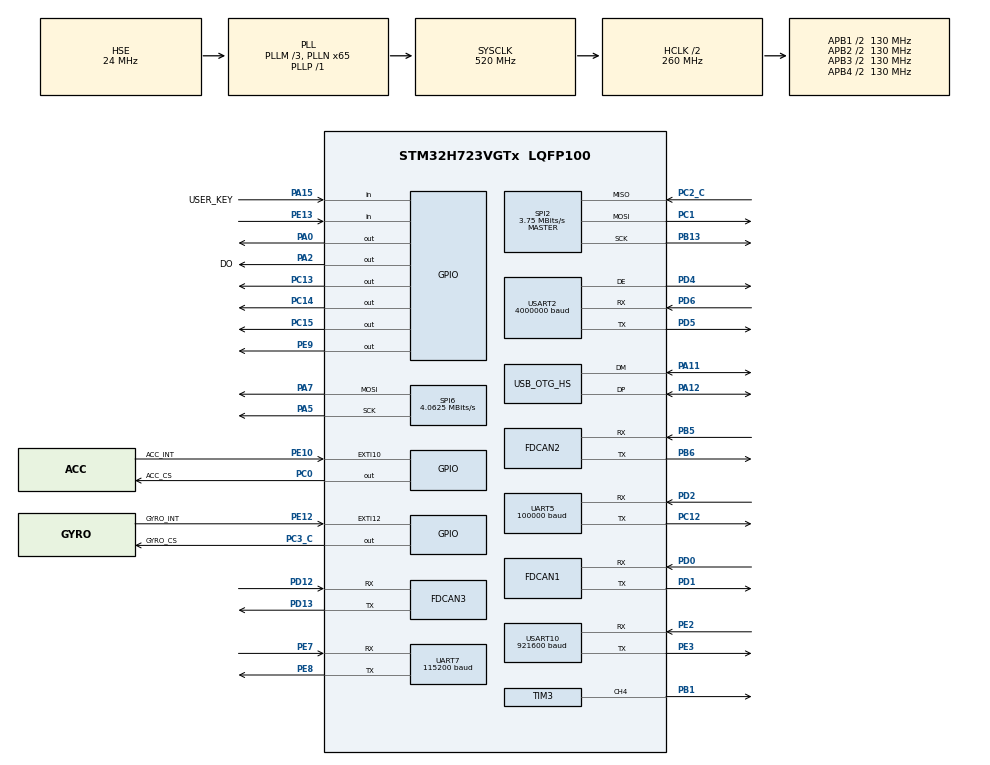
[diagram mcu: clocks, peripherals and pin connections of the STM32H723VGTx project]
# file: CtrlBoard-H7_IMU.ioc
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Dma.Request0=SPI2_RX
Dma.Request1=SPI2_TX
Dma.Request2=UART5_RX
Dma.Request3=USART2_RX
Dma.Request4=USART2_TX
Dma.Request5=USART10_RX
Dma.Request6=USART10_TX
Dma.Request7=UART5_TX
Dma.SPI2_RX.0.Direction=DMA_PERIPH_TO_MEMORY
Dma.SPI2_RX.0.EventEnable=DISABLE
Dma.SPI2_RX.0.FIFOMode=DMA_FIFOMODE_DISABLE
Dma.SPI2_RX.0.Instance=DMA1_Stream0
Dma.SPI2_RX.0.MemDataAlignment=DMA_MDATAALIGN_BYTE
Dma.SPI2_RX.0.MemInc=DMA_MINC_ENABLE
Dma.SPI2_RX.0.Mode=DMA_NORMAL
Dma.SPI2_RX.0.PeriphDataAlignment=DMA_PDATAALIGN_BYTE
Dma.SPI2_RX.0.PeriphInc=DMA_PINC_DISABLE
Dma.SPI2_RX.0.Polarity=HAL_DMAMUX_REQ_GEN_RISING
Dma.SPI2_RX.0.Priority=DMA_PRIORITY_VERY_HIGH
Dma.SPI2_RX.0.RequestNumber=1
Dma.SPI2_RX.0.SignalID=NONE
Dma.SPI2_RX.0.SyncEnable=DISABLE
Dma.SPI2_RX.0.SyncPolarity=HAL_DMAMUX_SYNC_NO_EVENT
Dma.SPI2_RX.0.SyncRequestNumber=1
Dma.SPI2_RX.0.SyncSignalID=NONE
Dma.SPI2_TX.1.Direction=DMA_MEMORY_TO_PERIPH
Dma.SPI2_TX.1.EventEnable=DISABLE
Dma.SPI2_TX.1.FIFOMode=DMA_FIFOMODE_DISABLE
Dma.SPI2_TX.1.Instance=DMA1_Stream1
Dma.SPI2_TX.1.MemDataAlignment=DMA_MDATAALIGN_BYTE
Dma.SPI2_TX.1.MemInc=DMA_MINC_ENABLE
Dma.SPI2_TX.1.Mode=DMA_NORMAL
Dma.SPI2_TX.1.PeriphDataAlignment=DMA_PDATAALIGN_BYTE
Dma.SPI2_TX.1.PeriphInc=DMA_PINC_DISABLE
Dma.SPI2_TX.1.Polarity=HAL_DMAMUX_REQ_GEN_RISING
Dma.SPI2_TX.1.Priority=DMA_PRIORITY_HIGH
Dma.SPI2_TX.1.RequestNumber=1
Dma.SPI2_TX.1.SignalID=NONE
Dma.SPI2_TX.1.SyncEnable=DISABLE
Dma.SPI2_TX.1.SyncPolarity=HAL_DMAMUX_SYNC_NO_EVENT
Dma.SPI2_TX.1.SyncRequestNumber=1
Dma.SPI2_TX.1.SyncSignalID=NONE
Dma.UART5_RX.2.Direction=DMA_PERIPH_TO_MEMORY
Dma.UART5_RX.2.EventEnable=DISABLE
Dma.UART5_RX.2.FIFOMode=DMA_FIFOMODE_DISABLE
Dma.UART5_RX.2.Instance=DMA1_Stream2
Dma.UART5_RX.2.MemDataAlignment=DMA_MDATAALIGN_BYTE
Dma.UART5_RX.2.MemInc=DMA_MINC_ENABLE
Dma.UART5_RX.2.Mode=DMA_CIRCULAR
Dma.UART5_RX.2.PeriphDataAlignment=DMA_PDATAALIGN_BYTE
Dma.UART5_RX.2.PeriphInc=DMA_PINC_DISABLE
Dma.UART5_RX.2.Polarity=HAL_DMAMUX_REQ_GEN_RISING
Dma.UART5_RX.2.Priority=DMA_PRIORITY_VERY_HIGH
Dma.UART5_RX.2.RequestNumber=1
Dma.UART5_RX.2.SignalID=NONE
Dma.UART5_RX.2.SyncEnable=DISABLE
Dma.UART5_RX.2.SyncPolarity=HAL_DMAMUX_SYNC_NO_EVENT
Dma.UART5_RX.2.SyncRequestNumber=1
Dma.UART5_RX.2.SyncSignalID=NONE
Dma.UART5_TX.7.Direction=DMA_MEMORY_TO_PERIPH
Dma.UART5_TX.7.EventEnable=DISABLE
Dma.UART5_TX.7.FIFOMode=DMA_FIFOMODE_DISABLE
Dma.UART5_TX.7.Instance=DMA1_Stream7
Dma.UART5_TX.7.MemDataAlignment=DMA_MDATAALIGN_BYTE
Dma.UART5_TX.7.MemInc=DMA_MINC_ENABLE
Dma.UART5_TX.7.Mode=DMA_NORMAL
Dma.UART5_TX.7.PeriphDataAlignment=DMA_PDATAALIGN_BYTE
Dma.UART5_TX.7.PeriphInc=DMA_PINC_DISABLE
Dma.UART5_TX.7.Polarity=HAL_DMAMUX_REQ_GEN_RISING
Dma.UART5_TX.7.Priority=DMA_PRIORITY_VERY_HIGH
Dma.UART5_TX.7.RequestNumber=1
Dma.UART5_TX.7.SignalID=NONE
Dma.UART5_TX.7.SyncEnable=DISABLE
Dma.UART5_TX.7.SyncPolarity=HAL_DMAMUX_SYNC_NO_EVENT
Dma.UART5_TX.7.SyncRequestNumber=1
Dma.UART5_TX.7.SyncSignalID=NONE
Dma.USART10_RX.5.Direction=DMA_PERIPH_TO_MEMORY
Dma.USART10_RX.5.EventEnable=DISABLE
Dma.USART10_RX.5.FIFOMode=DMA_FIFOMODE_DISABLE
Dma.USART10_RX.5.Instance=DMA1_Stream5
Dma.USART10_RX.5.MemDataAlignment=DMA_MDATAALIGN_BYTE
Dma.USART10_RX.5.MemInc=DMA_MINC_ENABLE
Dma.USART10_RX.5.Mode=DMA_CIRCULAR
Dma.USART10_RX.5.PeriphDataAlignment=DMA_PDATAALIGN_BYTE
Dma.USART10_RX.5.PeriphInc=DMA_PINC_DISABLE
Dma.USART10_RX.5.Polarity=HAL_DMAMUX_REQ_GEN_RISING
Dma.USART10_RX.5.Priority=DMA_PRIORITY_HIGH
Dma.USART10_RX.5.RequestNumber=1
Dma.USART10_RX.5.SignalID=NONE
Dma.USART10_RX.5.SyncEnable=DISABLE
Dma.USART10_RX.5.SyncPolarity=HAL_DMAMUX_SYNC_NO_EVENT
Dma.USART10_RX.5.SyncRequestNumber=1
Dma.USART10_RX.5.SyncSignalID=NONE
Dma.USART10_TX.6.Direction=DMA_MEMORY_TO_PERIPH
Dma.USART10_TX.6.EventEnable=DISABLE
Dma.USART10_TX.6.FIFOMode=DMA_FIFOMODE_DISABLE
Dma.USART10_TX.6.Instance=DMA1_Stream6
Dma.USART10_TX.6.MemDataAlignment=DMA_MDATAALIGN_BYTE
Dma.USART10_TX.6.MemInc=DMA_MINC_ENABLE
Dma.USART10_TX.6.Mode=DMA_NORMAL
Dma.USART10_TX.6.PeriphDataAlignment=DMA_PDATAALIGN_BYTE
Dma.USART10_TX.6.PeriphInc=DMA_PINC_DISABLE
Dma.USART10_TX.6.Polarity=HAL_DMAMUX_REQ_GEN_RISING
Dma.USART10_TX.6.Priority=DMA_PRIORITY_HIGH
Dma.USART10_TX.6.RequestNumber=1
Dma.USART10_TX.6.SignalID=NONE
Dma.USART10_TX.6.SyncEnable=DISABLE
Dma.USART10_TX.6.SyncPolarity=HAL_DMAMUX_SYNC_NO_EVENT
Dma.USART10_TX.6.SyncRequestNumber=1
Dma.USART10_TX.6.SyncSignalID=NONE
Dma.USART2_RX.3.Direction=DMA_PERIPH_TO_MEMORY
Dma.USART2_RX.3.EventEnable=DISABLE
Dma.USART2_RX.3.FIFOMode=DMA_FIFOMODE_DISABLE
Dma.USART2_RX.3.Instance=DMA1_Stream3
Dma.USART2_RX.3.MemDataAlignment=DMA_MDATAALIGN_BYTE
Dma.USART2_RX.3.MemInc=DMA_MINC_ENABLE
Dma.USART2_RX.3.Mode=DMA_CIRCULAR
Dma.USART2_RX.3.PeriphDataAlignment=DMA_PDATAALIGN_BYTE
Dma.USART2_RX.3.PeriphInc=DMA_PINC_DISABLE
Dma.USART2_RX.3.Polarity=HAL_DMAMUX_REQ_GEN_RISING
Dma.USART2_RX.3.Priority=DMA_PRIORITY_HIGH
Dma.USART2_RX.3.RequestNumber=1
Dma.USART2_RX.3.SignalID=NONE
Dma.USART2_RX.3.SyncEnable=DISABLE
Dma.USART2_RX.3.SyncPolarity=HAL_DMAMUX_SYNC_NO_EVENT
Dma.USART2_RX.3.SyncRequestNumber=1
Dma.USART2_RX.3.SyncSignalID=NONE
Dma.USART2_TX.4.Direction=DMA_MEMORY_TO_PERIPH
Dma.USART2_TX.4.EventEnable=DISABLE
Dma.USART2_TX.4.FIFOMode=DMA_FIFOMODE_DISABLE
Dma.USART2_TX.4.Instance=DMA1_Stream4
Dma.USART2_TX.4.MemDataAlignment=DMA_MDATAALIGN_BYTE
Dma.USART2_TX.4.MemInc=DMA_MINC_ENABLE
Dma.USART2_TX.4.Mode=DMA_NORMAL
Dma.USART2_TX.4.PeriphDataAlignment=DMA_PDATAALIGN_BYTE
Dma.USART2_TX.4.PeriphInc=DMA_PINC_DISABLE
Dma.USART2_TX.4.Polarity=HAL_DMAMUX_REQ_GEN_RISING
Dma.USART2_TX.4.Priority=DMA_PRIORITY_HIGH
Dma.USART2_TX.4.RequestNumber=1
Dma.USART2_TX.4.SignalID=NONE
Dma.USART2_TX.4.SyncEnable=DISABLE
Dma.USART2_TX.4.SyncPolarity=HAL_DMAMUX_SYNC_NO_EVENT
Dma.USART2_TX.4.SyncRequestNumber=1
Dma.USART2_TX.4.SyncSignalID=NONE
FDCAN1.CalculateBaudRateNominal=1000000
FDCAN1.CalculateTimeBitNominal=1000
FDCAN1.CalculateTimeQuantumNominal=25.0
FDCAN1.DataPrescaler=3
FDCAN1.DataSyncJumpWidth=10
FDCAN1.DataTimeSeg1=29
FDCAN1.DataTimeSeg2=10
FDCAN1.ExtFiltersNbr=5
FDCAN1.MessageRAMOffset=5
FDCAN1.NominalPrescaler=3
FDCAN1.NominalSyncJumpWidth=10
FDCAN1.NominalTimeSeg1=29
FDCAN1.NominalTimeSeg2=10
FDCAN1.ProtocolException=ENABLE
FDCAN1.RxFifo0ElmtSize=FDCAN_DATA_BYTES_8
FDCAN1.RxFifo0ElmtsNbr=8
FDCAN1.RxFifo1ElmtSize=FDCAN_DATA_BYTES_8
FDCAN1.StdFiltersNbr=5
FDCAN1.TxElmtSize=FDCAN_DATA_BYTES_8
FDCAN1.TxFifoQueueElmtsNbr=8
FDCAN2.CalculateBaudRateNominal=1000000
FDCAN2.CalculateTimeBitNominal=1000
FDCAN2.CalculateTimeQuantumNominal=25.0
FDCAN2.DataPrescaler=3
FDCAN2.DataSyncJumpWidth=10
FDCAN2.DataTimeSeg1=29
FDCAN2.DataTimeSeg2=10
FDCAN2.ExtFiltersNbr=5
FDCAN2.MessageRAMOffset=854
FDCAN2.NominalPrescaler=3
FDCAN2.NominalSyncJumpWidth=10
FDCAN2.NominalTimeSeg1=29
FDCAN2.NominalTimeSeg2=10
FDCAN2.ProtocolException=ENABLE
FDCAN2.RxFifo1ElmtSize=FDCAN_DATA_BYTES_8
FDCAN2.RxFifo1ElmtsNbr=8
FDCAN2.StdFiltersNbr=5
FDCAN2.TxElmtSize=FDCAN_DATA_BYTES_8
FDCAN2.TxFifoQueueElmtsNbr=8
FDCAN3.CalculateBaudRateNominal=1000000
FDCAN3.CalculateTimeBitNominal=1000
FDCAN3.CalculateTimeQuantumNominal=25.0
FDCAN3.DataPrescaler=3
FDCAN3.DataSyncJumpWidth=10
FDCAN3.DataTimeSeg1=29
FDCAN3.DataTimeSeg2=5
FDCAN3.ExtFiltersNbr=5
FDCAN3.MessageRAMOffset=1709
FDCAN3.NominalPrescaler=3
FDCAN3.NominalSyncJumpWidth=10
FDCAN3.NominalTimeSeg1=29
FDCAN3.NominalTimeSeg2=10
FDCAN3.ProtocolException=ENABLE
FDCAN3.RxFifo0ElmtSize=FDCAN_DATA_BYTES_8
FDCAN3.RxFifo0ElmtsNbr=4
FDCAN3.StdFiltersNbr=5
FDCAN3.TxElmtSize=FDCAN_DATA_BYTES_8
FDCAN3.TxFifoQueueElmtsNbr=8
FREERTOS.MEMORY_ALLOCATION=0
FREERTOS.Tasks01=serviceTask,8,256,StartServiceTask,Default,NULL,Dynamic,NULL,NULL;inputTask,48,512,StartInputTask,Default,NULL,Dynamic,NULL,NULL
FREERTOS.configENABLE_FPU=1
FREERTOS.configTOTAL_HEAP_SIZE=30720
Mcu.Family=STM32H7
Mcu.Name=STM32H723VGTx
Mcu.Package=LQFP100
NVIC.DMA1_Stream0_IRQn=true\:6\:0\:true\:false\:true\:true\:false\:true\:true
NVIC.DMA1_Stream1_IRQn=true\:6\:0\:true\:false\:true\:true\:false\:true\:true
NVIC.DMA1_Stream2_IRQn=true\:5\:0\:false\:false\:true\:true\:false\:true\:true
NVIC.DMA1_Stream3_IRQn=true\:5\:0\:false\:false\:true\:true\:false\:true\:true
NVIC.DMA1_Stream4_IRQn=true\:5\:0\:false\:false\:true\:true\:false\:true\:true
NVIC.DMA1_Stream5_IRQn=true\:5\:0\:false\:false\:true\:true\:false\:true\:true
NVIC.DMA1_Stream6_IRQn=true\:5\:0\:false\:false\:true\:true\:false\:true\:true
NVIC.DMA1_Stream7_IRQn=true\:5\:0\:false\:false\:true\:true\:false\:true\:true
NVIC.FDCAN1_IT0_IRQn=true\:6\:0\:true\:false\:true\:true\:true\:true\:true
NVIC.FDCAN2_IT0_IRQn=true\:5\:0\:true\:false\:true\:true\:true\:true\:true
NVIC.FDCAN3_IT0_IRQn=true\:5\:0\:false\:false\:true\:true\:true\:true\:true
NVIC.OTG_HS_IRQn=true\:5\:0\:false\:false\:true\:true\:false\:true\:true
NVIC.PriorityGroup=NVIC_PRIORITYGROUP_4
NVIC.SPI2_IRQn=true\:5\:0\:true\:false\:true\:true\:false\:true\:true
NVIC.TIM2_IRQn=true\:15\:0\:false\:false\:true\:false\:false\:true\:true
NVIC.TimeBase=TIM2_IRQn
NVIC.TimeBaseIP=TIM2
NVIC.UART5_IRQn=true\:5\:0\:false\:false\:true\:true\:true\:true\:true
NVIC.UART7_IRQn=true\:5\:0\:false\:false\:true\:true\:true\:true\:true
NVIC.USART10_IRQn=true\:5\:0\:false\:false\:true\:true\:true\:true\:true
NVIC.USART2_IRQn=true\:5\:0\:false\:false\:true\:true\:true\:true\:true
PA0.GPIO_ModeDefaultOutputPP=GPIO_MODE_OUTPUT_PP
PA0.GPIO_PuPd=GPIO_PULLUP
PA0.GPIO_Speed=GPIO_SPEED_FREQ_VERY_HIGH
PA0.Signal=GPIO_Output
PA11.Mode=Device_Only_FS
PA11.Signal=USB_OTG_HS_DM
PA12.Mode=Device_Only_FS
PA12.Signal=USB_OTG_HS_DP
PA13(JTMS/SWDIO).Mode=Serial_Wire
PA13(JTMS/SWDIO).Signal=DEBUG_JTMS-SWDIO
PA14(JTCK/SWCLK).Mode=Serial_Wire
PA14(JTCK/SWCLK).Signal=DEBUG_JTCK-SWCLK
PA15(JTDI).GPIO_Label=USER_KEY
PA15(JTDI).Signal=GPIO_Input
PA2.GPIO_Label=DO
PA2.GPIO_PuPd=GPIO_PULLUP
PA2.GPIO_Speed=GPIO_SPEED_FREQ_VERY_HIGH
PA2.PinState=GPIO_PIN_SET
PA2.Signal=GPIO_Output
PA5.Mode=TX_Only_Simplex_Unidirect_Master
PA5.Signal=SPI6_SCK
PA7.Mode=TX_Only_Simplex_Unidirect_Master
PA7.Signal=SPI6_MOSI
PB1.Signal=S_TIM3_CH4
PB13.GPIO_Speed=GPIO_SPEED_FREQ_VERY_HIGH
PB13.Mode=Full_Duplex_Master
PB13.Signal=SPI2_SCK
PB5.Mode=FDCAN_Activate
PB5.Signal=FDCAN2_RX
PB6.Mode=FDCAN_Activate
PB6.Signal=FDCAN2_TX
PC0.GPIO_Label=ACC_CS
PC0.GPIO_Speed=GPIO_SPEED_FREQ_VERY_HIGH
PC0.PinState=GPIO_PIN_SET
PC0.Signal=GPIO_Output
PC1.GPIO_Speed=GPIO_SPEED_FREQ_VERY_HIGH
PC1.Mode=Full_Duplex_Master
PC1.Signal=SPI2_MOSI
PC12.Mode=Asynchronous
PC12.Signal=UART5_TX
PC13.Signal=GPIO_Output
PC14-OSC32_IN.Signal=GPIO_Output
PC15-OSC32_OUT.PinState=GPIO_PIN_SET
PC15-OSC32_OUT.Signal=GPIO_Output
PC2_C.GPIO_Speed=GPIO_SPEED_FREQ_VERY_HIGH
PC2_C.Mode=Full_Duplex_Master
PC2_C.Signal=SPI2_MISO
PC3_C.GPIO_Label=GYRO_CS
PC3_C.GPIO_Speed=GPIO_SPEED_FREQ_VERY_HIGH
PC3_C.PinState=GPIO_PIN_SET
PC3_C.Signal=GPIO_Output
PD0.Mode=FDCAN_Activate
PD0.Signal=FDCAN1_RX
PD1.Mode=FDCAN_Activate
PD1.Signal=FDCAN1_TX
PD12.Mode=FDCAN_Activate
PD12.Signal=FDCAN3_RX
PD13.Mode=FDCAN_Activate
PD13.Signal=FDCAN3_TX
PD2.Mode=Asynchronous
PD2.Signal=UART5_RX
PD4.Mode=Hardware Flow Control (RS485)
PD4.Signal=USART2_DE
PD5.Mode=Asynchronous
PD5.Signal=USART2_TX
PD6.Mode=Asynchronous
PD6.Signal=USART2_RX
PE10.GPIO_Label=ACC_INT
PE10.Signal=GPXTI10
PE12.GPIO_Label=GYRO_INT
PE12.Signal=GPXTI12
PE13.GPIO_PuPd=GPIO_PULLUP
PE13.Signal=GPIO_Input
PE2.Mode=Asynchronous
PE2.Signal=USART10_RX
PE3.Mode=Asynchronous
PE3.Signal=USART10_TX
PE7.GPIO_PuPd=GPIO_PULLUP
PE7.Mode=Asynchronous
PE7.Signal=UART7_RX
PE8.Mode=Asynchronous
PE8.Signal=UART7_TX
PE9.GPIO_ModeDefaultOutputPP=GPIO_MODE_OUTPUT_PP
PE9.GPIO_PuPd=GPIO_PULLUP
PE9.GPIO_Speed=GPIO_SPEED_FREQ_VERY_HIGH
PE9.Signal=GPIO_Output
PH0-OSC_IN.Mode=HSE-External-Oscillator
PH0-OSC_IN.Signal=RCC_OSC_IN
PH1-OSC_OUT.Mode=HSE-External-Oscillator
PH1-OSC_OUT.Signal=RCC_OSC_OUT
ProjectManager.HeapSize=0x200
ProjectManager.StackSize=0x800
ProjectManager.TargetToolchain=MDK-ARM V5.27
RCC.ADCFreq_Value=120000000
RCC.APB1Freq_Value=130000000
RCC.APB2Freq_Value=130000000
RCC.APB3Freq_Value=130000000
RCC.APB4Freq_Value=130000000
RCC.CortexFreq_Value=520000000
RCC.D1PPRE=RCC_APB3_DIV2
RCC.D2PPRE1=RCC_APB1_DIV2
RCC.D2PPRE2=RCC_APB2_DIV2
RCC.D3PPRE=RCC_APB4_DIV2
RCC.DIVM1=3
RCC.DIVM2=4
RCC.DIVN1=65
RCC.DIVN2=40
RCC.DIVP1=1
RCC.DIVQ1=4
RCC.DIVR1=4
RCC.FDCANCLockSelection=RCC_FDCANCLKSOURCE_PLL2
RCC.HCLKFreq_Value=260000000
RCC.HPRE=RCC_HCLK_DIV2
RCC.HSE_VALUE=24000000
RCC.PLL2FRACN=0
RCC.PLL3FRACN=0
RCC.PLLFRACN=0
RCC.PLLSourceVirtual=RCC_PLLSOURCE_HSE
RCC.SPI123CLockSelection=RCC_SPI123CLKSOURCE_PLL2
RCC.SYSCLKFreq_VALUE=520000000
RCC.SYSCLKSource=RCC_SYSCLKSOURCE_PLLCLK
RCC.USART16CLockSelection=RCC_USART16910CLKSOURCE_PLL2
RCC.USART234578CLockSelection=RCC_USART234578CLKSOURCE_PLL2
RCC.USBCLockSelection=RCC_USBCLKSOURCE_HSI48
RCC.USBFreq_Value=48000000
SH.S_TIM3_CH4.0=TIM3_CH4,PWM Generation4 CH4
SPI2.BaudRatePrescaler=SPI_BAUDRATEPRESCALER_32
SPI2.CLKPhase=SPI_PHASE_2EDGE
SPI2.CLKPolarity=SPI_POLARITY_HIGH
SPI2.CalculateBaudRate=3.75 MBits/s
SPI2.DataSize=SPI_DATASIZE_8BIT
SPI2.Direction=SPI_DIRECTION_2LINES
SPI2.Mode=SPI_MODE_MASTER
SPI2.VirtualType=VM_MASTER
SPI6.BaudRatePrescaler=SPI_BAUDRATEPRESCALER_32
SPI6.CalculateBaudRate=4.0625 MBits/s
SPI6.DataSize=SPI_DATASIZE_8BIT
SPI6.Direction=SPI_DIRECTION_2LINES_TXONLY
SPI6.MasterKeepIOState=SPI_MASTER_KEEP_IO_STATE_ENABLE
SPI6.Mode=SPI_MODE_MASTER
SPI6.VirtualType=VM_MASTER
TIM3.AutoReloadPreload=TIM_AUTORELOAD_PRELOAD_ENABLE
TIM3.Channel-PWM\ Generation4\ CH4=TIM_CHANNEL_4
TIM3.Period=10000-1
TIM3.Prescaler=24-1
UART5.BaudRate=100000
UART5.FIFOMode=FIFOMODE_ENABLE
UART5.Mode=MODE_TX_RX
UART5.Parity=PARITY_EVEN
UART5.StopBits=UART_STOPBITS_1
UART5.WordLength=WORDLENGTH_9B
UART7.BaudRate=115200
UART7.Mode=MODE_TX_RX
USART10.BaudRate=921600
USART10.FIFOMode=FIFOMODE_DISABLE
USART10.VirtualMode=VM_ASYNC
USART2.BaudRate=4000000
USART2.OverSampling=UART_OVERSAMPLING_16
USART2.UART_DEAssertionTime=0
USART2.UART_DEDeassertionTime=0
USART2.VirtualMode-Asynchronous=VM_ASYNC
USART2.VirtualMode-Hardware\ Flow\ Control\ (RS485)=VM_ASYNC
USB_DEVICE.CLASS_NAME_HS=CDC
USB_DEVICE.VirtualMode=Cdc
USB_DEVICE.VirtualModeHS=Cdc_HS
USB_OTG_HS.VirtualMode-Device_Only_FS=Device_Only_FS
VP_FREERTOS_VS_CMSIS_V2.Mode=CMSIS_V2
VP_MEMORYMAP_VS_MEMORYMAP.Mode=CurAppReg
VP_SYS_VS_tim2.Mode=TIM2
VP_USB_DEVICE_VS_USB_DEVICE_CDC_HS.Mode=CDC_HS
board=custom

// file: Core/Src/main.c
/* USER CODE BEGIN Header */
/**
  ******************************************************************************
  * @file           : main.c
  * @brief          : Main program body
  ******************************************************************************
  * @attention
  *
  * Copyright (c) 2024 STMicroelectronics.
  * All rights reserved.
  *
  * This software is licensed under terms that can be found in the LICENSE file
  * in the root directory of this software component.
  * If no LICENSE file comes with this software, it is provided AS-IS.
  *
  ******************************************************************************
  */
/* USER CODE END Header */
#include "main.h"
#include "FreeRTOS.h"
#include "cmsis_os2.h"
#include "dma.h"
#include "fdcan.h"
#include "spi.h"
#include "tim.h"
#include "usart.h"
#include "usb_device.h"
#include "gpio.h"

/* USER CODE BEGIN Includes */
#include "BMI088driver.h"
#include "bsp_dwt.h"
#include "BMI088Middleware.h"
#include "bsp_can.h"
#include "bsp_uart.h"
/* USER CODE END Includes */

void SystemClock_Config(void);
void PeriphCommonClock_Config(void);
void MX_FREERTOS_Init(void);

int main(void)
{

  /* MCU Configuration--------------------------------------------------------*/

  /* Reset of all peripherals, Initializes the Flash interface and the Systick. */
  HAL_Init();

  /* USER CODE BEGIN Init */
//06 01 00 00 00 00 00 00 00 00 00 00 00 00 80 3F
  /* USER CODE END Init */

  /* Configure the system clock */
  SystemClock_Config();

  /* Configure the peripherals common clocks */
  PeriphCommonClock_Config();

  /* Initialize all configured peripherals */
  MX_GPIO_Init();
  MX_DMA_Init();
  MX_SPI2_Init();
  MX_FDCAN1_Init();
  MX_FDCAN2_Init();
  MX_TIM3_Init();
  MX_FDCAN3_Init();
  MX_UART5_Init();
  MX_USART2_UART_Init();
  MX_USART10_UART_Init();
  MX_UART7_Init();
  MX_SPI6_Init();
  /* USER CODE BEGIN 2 */
  if (!DWT_Init(SystemCoreClock))
  {
    Error_Handler();
  }
  BSP_USART_Init();
  while (BMI088_init(&hspi2, 0) != BMI088_NO_ERROR)
  {
	  ;
  }
  Power_OUT1_ON;
  Power_OUT2_ON;

  /* 启动现有三路 CAN；电机反馈交给本工程的控制任务处理。 */
  FDCAN1_Config();
  FDCAN2_Config();
  FDCAN3_Config();

  /* USER CODE END 2 */

  /* Init scheduler */
  osKernelInitialize();  /* Call init function for freertos objects (in cmsis_os2.c) */
  MX_FREERTOS_Init();

  /* Start scheduler */
  osKernelStart();

  /* We should never get here as control is now taken by the scheduler */

  /* Infinite loop */
  while (1)
  {

  }
}

void SystemClock_Config(void)
{
  RCC_OscInitTypeDef RCC_OscInitStruct = {0};
  RCC_ClkInitTypeDef RCC_ClkInitStruct = {0};

  /** Supply configuration update enable
  */
  HAL_PWREx_ConfigSupply(PWR_LDO_SUPPLY);

  /** Configure the main internal regulator output voltage
  */
  __HAL_PWR_VOLTAGESCALING_CONFIG(PWR_REGULATOR_VOLTAGE_SCALE0);

  while(!__HAL_PWR_GET_FLAG(PWR_FLAG_VOSRDY)) {}

  /** Initializes the RCC Oscillators according to the specified parameters
  * in the RCC_OscInitTypeDef structure.
  */
  RCC_OscInitStruct.OscillatorType = RCC_OSCILLATORTYPE_HSI48|RCC_OSCILLATORTYPE_HSE;
  RCC_OscInitStruct.HSEState = RCC_HSE_ON;
  RCC_OscInitStruct.HSI48State = RCC_HSI48_ON;
  RCC_OscInitStruct.PLL.PLLState = RCC_PLL_ON;
  RCC_OscInitStruct.PLL.PLLSource = RCC_PLLSOURCE_HSE;
  RCC_OscInitStruct.PLL.PLLM = 3;
  RCC_OscInitStruct.PLL.PLLN = 65;
  RCC_OscInitStruct.PLL.PLLP = 1;
  RCC_OscInitStruct.PLL.PLLQ = 4;
  RCC_OscInitStruct.PLL.PLLR = 4;
  RCC_OscInitStruct.PLL.PLLRGE = RCC_PLL1VCIRANGE_3;
  RCC_OscInitStruct.PLL.PLLVCOSEL = RCC_PLL1VCOWIDE;
  RCC_OscInitStruct.PLL.PLLFRACN = 0;
  if (HAL_RCC_OscConfig(&RCC_OscInitStruct) != HAL_OK)
  {
    Error_Handler();
  }

  /** Initializes the CPU, AHB and APB buses clocks
  */
  RCC_ClkInitStruct.ClockType = RCC_CLOCKTYPE_HCLK|RCC_CLOCKTYPE_SYSCLK
                              |RCC_CLOCKTYPE_PCLK1|RCC_CLOCKTYPE_PCLK2
                              |RCC_CLOCKTYPE_D3PCLK1|RCC_CLOCKTYPE_D1PCLK1;
  RCC_ClkInitStruct.SYSCLKSource = RCC_SYSCLKSOURCE_PLLCLK;
  RCC_ClkInitStruct.SYSCLKDivider = RCC_SYSCLK_DIV1;
  RCC_ClkInitStruct.AHBCLKDivider = RCC_HCLK_DIV2;
  RCC_ClkInitStruct.APB3CLKDivider = RCC_APB3_DIV2;
  RCC_ClkInitStruct.APB1CLKDivider = RCC_APB1_DIV2;
  RCC_ClkInitStruct.APB2CLKDivider = RCC_APB2_DIV2;
  RCC_ClkInitStruct.APB4CLKDivider = RCC_APB4_DIV2;

  if (HAL_RCC_ClockConfig(&RCC_ClkInitStruct, FLASH_LATENCY_3) != HAL_OK)
  {
    Error_Handler();
  }
}

void PeriphCommonClock_Config(void)
{
  RCC_PeriphCLKInitTypeDef PeriphClkInitStruct = {0};

  /** Initializes the peripherals clock
  */
  PeriphClkInitStruct.PeriphClockSelection = RCC_PERIPHCLK_SPI2|RCC_PERIPHCLK_UART5
                              |RCC_PERIPHCLK_FDCAN|RCC_PERIPHCLK_USART10
                              |RCC_PERIPHCLK_UART7|RCC_PERIPHCLK_USART2;
  PeriphClkInitStruct.PLL2.PLL2M = 4;
  PeriphClkInitStruct.PLL2.PLL2N = 40;
  PeriphClkInitStruct.PLL2.PLL2P = 2;
  PeriphClkInitStruct.PLL2.PLL2Q = 2;
  PeriphClkInitStruct.PLL2.PLL2R = 2;
  PeriphClkInitStruct.PLL2.PLL2RGE = RCC_PLL2VCIRANGE_2;
  PeriphClkInitStruct.PLL2.PLL2VCOSEL = RCC_PLL2VCOWIDE;
  PeriphClkInitStruct.PLL2.PLL2FRACN = 0;
  PeriphClkInitStruct.Spi123ClockSelection = RCC_SPI123CLKSOURCE_PLL2;
  PeriphClkInitStruct.FdcanClockSelection = RCC_FDCANCLKSOURCE_PLL2;
  PeriphClkInitStruct.Usart234578ClockSelection = RCC_USART234578CLKSOURCE_PLL2;
  PeriphClkInitStruct.Usart16ClockSelection = RCC_USART16910CLKSOURCE_PLL2;
  if (HAL_RCCEx_PeriphCLKConfig(&PeriphClkInitStruct) != HAL_OK)
  {
    Error_Handler();
  }
}

void HAL_TIM_PeriodElapsedCallback(TIM_HandleTypeDef *htim)
{
  /* USER CODE BEGIN Callback 0 */
  if (htim->Instance == TIM2)
  {
    /* 1 ms 周期维护 DWT 的 64 位软件扩展，避免遗漏 CYCCNT 回绕。 */
    DWT_Update();
  }
  /* USER CODE END Callback 0 */
  if (htim->Instance == TIM2)
  {
    HAL_IncTick();
  }
}

void Error_Handler(void)
{
  __disable_irq();
  while (1)
  {
  }
}

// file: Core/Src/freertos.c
/* USER CODE BEGIN Header */
/**
  ******************************************************************************
  * File Name          : freertos.c
  * Description        : Code for freertos applications
  ******************************************************************************
  * @attention
  *
  * Copyright (c) 2026 STMicroelectronics.
  * All rights reserved.
  *
  * This software is licensed under terms that can be found in the LICENSE file
  * in the root directory of this software component.
  * If no LICENSE file comes with this software, it is provided AS-IS.
  *
  ******************************************************************************
  */
/* USER CODE END Header */

#include "FreeRTOS.h"
#include "task.h"
#include "main.h"
#include "FreeRTOS.h"
#include "cmsis_os2.h"

/* USER CODE BEGIN Includes */
#include "chassis_task.h"
#include "ins_task.h"
#include "input_task.h"
#include "service_task.h"
/* USER CODE END Includes */

/* USER CODE BEGIN Variables */
/* 本工程控制任务由用户代码持有，CubeMX 仅生成公共任务，重生成时保留本区域。 */
/* Definitions for INS_TASK */
osThreadId_t INS_TASKHandle;
const osThreadAttr_t INS_TASK_attributes = {
  .name = "INS_TASK",
  .stack_size = 512 * 4,
  .priority = (osPriority_t) osPriorityLow,
};

/* Definitions for chassisTask */
osThreadId_t chassisTaskHandle;
const osThreadAttr_t chassisTask_attributes = {
  .name = "chassisTask",
  .stack_size = 512 * 4,
  .priority = (osPriority_t) osPriorityHigh,
};
/* USER CODE END Variables */
/* Definitions for serviceTask */
osThreadId_t serviceTaskHandle;
const osThreadAttr_t serviceTask_attributes = {
  .name = "serviceTask",
  .stack_size = 256 * 4,
  .priority = (osPriority_t) osPriorityLow,
};
/* Definitions for inputTask */
osThreadId_t inputTaskHandle;
const osThreadAttr_t inputTask_attributes = {
  .name = "inputTask",
  .stack_size = 512 * 4,
  .priority = (osPriority_t) osPriorityRealtime,
};

/* USER CODE BEGIN FunctionPrototypes */
void INS_Task(void *argument);
void StartChassisTask(void *argument);
/* USER CODE END FunctionPrototypes */

void StartServiceTask(void *argument);
void StartInputTask(void *argument);

extern void MX_USB_DEVICE_Init(void);
void MX_FREERTOS_Init(void); /* (MISRA C 2004 rule 8.1) */

void MX_FREERTOS_Init(void) {

  /* Create the thread(s) */
  /* creation of serviceTask */
  serviceTaskHandle = osThreadNew(StartServiceTask, NULL, &serviceTask_attributes);

  /* creation of inputTask */
  inputTaskHandle = osThreadNew(StartInputTask, NULL, &inputTask_attributes);

  /* USER CODE BEGIN RTOS_THREADS */
  /* 本工程直接创建固定控制任务；声明、属性和入口均位于 CubeMX 保留区域。 */
  INS_TASKHandle = osThreadNew(INS_Task, NULL, &INS_TASK_attributes);
  chassisTaskHandle = osThreadNew(StartChassisTask, NULL, &chassisTask_attributes);
  /* USER CODE END RTOS_THREADS */

}

void StartServiceTask(void *argument)
{
  /* init code for USB_DEVICE */
  MX_USB_DEVICE_Init();
  /* USER CODE BEGIN StartServiceTask */
  (void)argument;
  ServiceTask_Run();
  osThreadExit();
  /* USER CODE END StartServiceTask */
}

void StartInputTask(void *argument)
{
  /* USER CODE BEGIN StartInputTask */
  (void)argument;
  InputTask_Run();
  osThreadExit();
  /* USER CODE END StartInputTask */
}

/* USER CODE BEGIN Application */
/**
 * @brief 底盘板 INS 任务入口，将 CMSIS 线程参数转换为现有运行入口。
 * @param argument 未使用；运行入口返回时结束本线程。
 */
void INS_Task(void *argument)
{
  (void)argument;
  InsTask_Run();
  osThreadExit();
}

/**
 * @brief 底盘板控制任务入口；本函数整体位于 CubeMX 保留区域。
 * @param argument 未使用；运行入口返回时结束本线程。
 */
void StartChassisTask(void *argument)
{
  (void)argument;
  ChassisTask_Run();
  osThreadExit();
}
/* USER CODE END Application */
